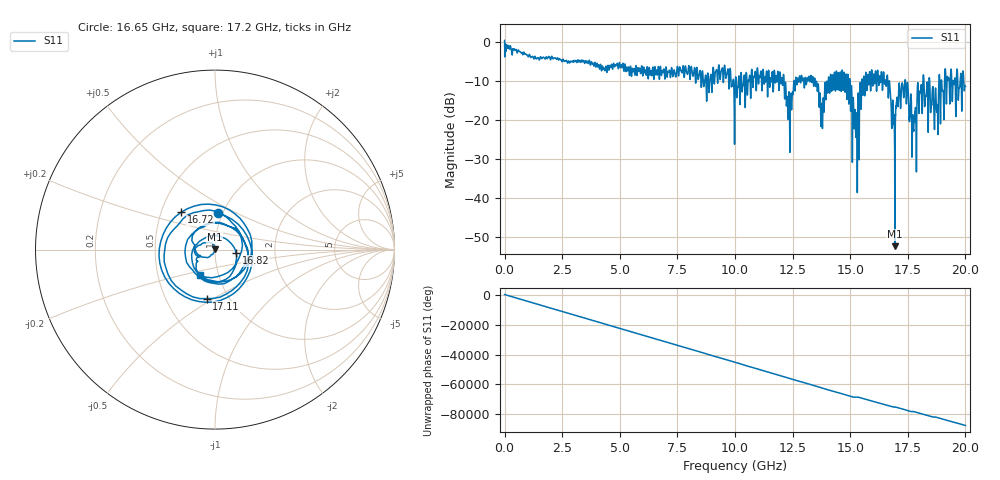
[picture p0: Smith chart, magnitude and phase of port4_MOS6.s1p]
! MS46122B
! 2250307/22442219
! 7/27/2025 9:19:09 AM
! C:\USERS\SPARKY\DOCUMENTS\VNA_DATA\JULY27_2025\3K\PORT4_MOS6.S1P
! CHANNEL.1
! TR.MEASUREMENT
! RAW.DATA
# GHZ S RI R 50.0
! FREQ.GHZ  S11RE  S11IM
!; PortSelection: Port_1
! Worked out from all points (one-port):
!   10001 points, 1 MHz to 20 GHz, reference 50 ohm
!   lowest |S11| = -52.3 dB at 16.94 GHz (marker M1), VSWR 1.00, Z = 49.8 + j0.19 ohm
!   |S11| at or under -10 dB: 13.48 GHz to 14.05 GHz (574.4 MHz wide, 4.17 % of centre); 16.7 GHz to 17.37 GHz (670.9 MHz wide, 3.94 % of centre); 17.4 GHz to 18.16 GHz (758.3 MHz wide, 4.27 % of centre) (the widest 3 of 85)
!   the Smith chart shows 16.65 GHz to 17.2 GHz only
!   S11 on the Smith chart (normalised r, x): 16.65 GHz: 0.95, +0.40; 16.72 GHz: 0.63, +0.28; 16.82 GHz: 1.27, -0.05; 17.11 GHz: 0.79, -0.47; 17.2 GHz: 0.82, -0.24
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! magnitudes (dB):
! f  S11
! 1 MHz  0.4
! 2.501 GHz  -5.0
! 5.001 GHz  -5.6
! 7.501 GHz  -6.2
! 9.619 GHz  -8.8
! 10 GHz  -13.3
! 11.05 GHz  -8.9
! 12.03 GHz  -9.1
! 12.32 GHz  -17.5
! 12.5 GHz  -13.0
! 13.29 GHz  -8.5
! 13.79 GHz  -20.5
! 14.65 GHz  -7.2
! 15 GHz  -12.1
! 15.24 GHz  -23.7
! 15.76 GHz  -8.4
! 16.65 GHz  -13.8
! 16.72 GHz  -11.0
! 16.82 GHz  -18.5
! 16.94 GHz  -52.3
! 17.11 GHz  -11.2
! 17.2 GHz  -15.6
! 17.5 GHz  -11.0
! 17.78 GHz  -19.2
! 18.11 GHz  -14.8
! 18.73 GHz  -14.5
! 19.19 GHz  -11.6
! 20 GHz  -11.3
